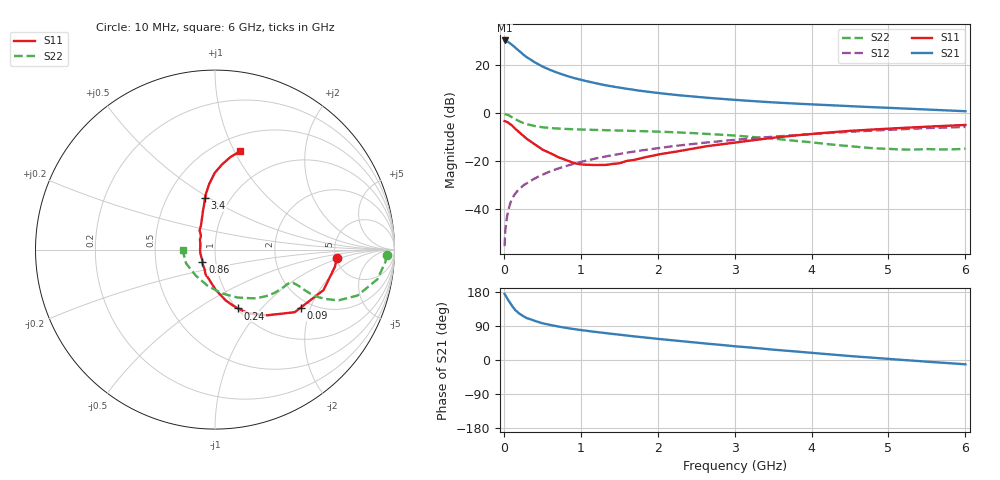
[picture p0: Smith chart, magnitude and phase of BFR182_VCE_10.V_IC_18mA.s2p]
! Infineon Technologies  Discrete & RF Semiconductors
! BFR182
! VCE =  10. V,  IC =  18 mA
! Common Emitter S-Parameters:  Nov 2015
# GHz  S  MA  R  50
!  f  S11  S21  S12  S22
! GHz  MAG  ANG  MAG  ANG  MAG  ANG  MAG  ANG
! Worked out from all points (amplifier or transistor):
!   210 points, 10 MHz to 6 GHz, reference 50 ohm
!   highest |S21| = 30.2 dB at 10 MHz (marker M1)
!   |S21| within 3 dB of that: start of sweep to 149.1 MHz
!   unconditionally stable (mu >= 1): 686.4 MHz to 2.762 GHz
!   at 185 MHz: K = 0.63, MSG = 29.2 dB, |S12| = -32.1 dB
!   at 1.52 GHz: K = 1.04, MAG = 12.4 dB, |S12| = -16.9 dB
!   at 6 GHz: K = 0.90, MSG = 3.3 dB, |S12| = -5.8 dB
!   S11 on the Smith chart (normalised r, x): 10 MHz: 5.09, -0.90; 90 MHz: 1.76, -1.71; 240 MHz: 1.01, -0.76; 860 MHz: 0.86, -0.12; 3.4 GHz: 0.76, +0.48; 6 GHz: 0.65, +1.06
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0.01  0.6805 -4.0  32.43 174.6  0.0017 78.9  0.9576 -1.8
0.02  0.6746 -8.2  31.94 170.9  0.0037 75.2  0.9513 -4.2
0.05  0.6452 -20.5  30.81 160.1  0.0083 78.4  0.9203 -10.3
0.09  0.5763 -34.2  27.55 147.8  0.0141 74.3  0.8496 -16.3
0.1  0.565 -38.1  26.96 144.3  0.0156 73.8  0.8335 -17.9
0.15  0.4678 -51.5  22.9 131.2  0.0214 70.5  0.7448 -22.3
0.2  0.4004 -62.5  19.5 122.5  0.0261 70.0  0.6748 -24.1
0.24  0.3521 -68.6  17.18 117.3  0.0299 69.3  0.6332 -24.7
0.3  0.2902 -78.0  14.46 110.4  0.0348 69.4  0.5859 -24.8
0.4  0.2242 -89.0  11.44 103.1  0.0434 70.2  0.5361 -24.1
0.5  0.1745 -99.3  9.329 97.0  0.052 70.9  0.5061 -23.4
0.6  0.1483 -110.5  7.922 92.5  0.061 71.4  0.4887 -23.2
0.7  0.1223 -118.8  6.875 88.4  0.0696 71.8  0.4759 -23.1
0.86  0.0977 -135.7  5.669 83.1  0.0837 71.2  0.4631 -23.4
1.02  0.0852 -158.2  4.84 78.5  0.0977 70.9  0.4537 -24.2
1.4  0.087 159.3  3.589 69.1  0.1317 68.6  0.4381 -27.9
2.02  0.1389 127.8  2.598 55.4  0.1878 63.5  0.4108 -35.8
3.1  0.2542 104.0  1.836 34.7  0.286 52.8  0.3307 -54.9
3.4  0.2934 100.9  1.707 29.3  0.3132 49.6  0.3029 -62.2
4.1  0.3793 93.9  1.49 17.2  0.3746 41.6  0.2362 -84.8
5.1  0.4837 84.4  1.266 1.4  0.4556 29.7  0.1765 -132.0
6  0.5661 75.6  1.093 -11.4  0.5137 18.0  0.1809 179.9
